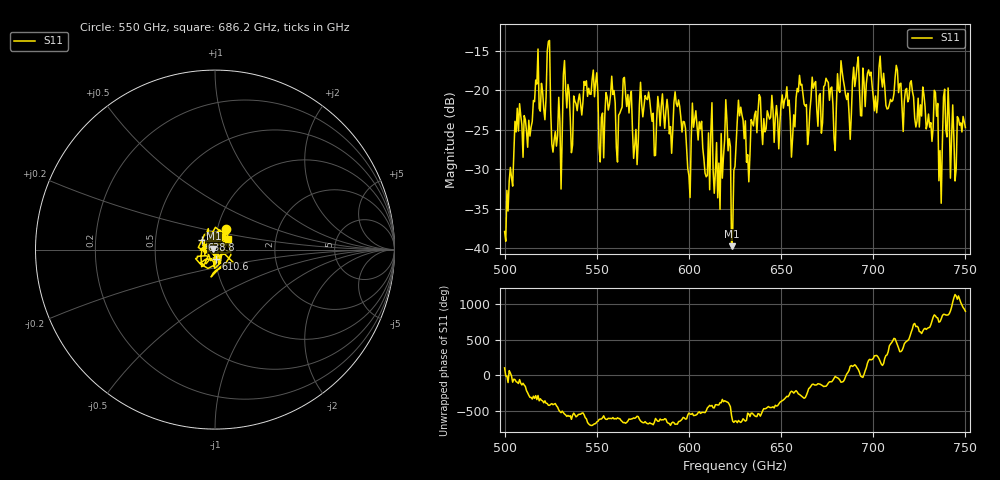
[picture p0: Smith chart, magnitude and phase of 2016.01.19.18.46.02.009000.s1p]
!Created with skrf (http://scikit-rf.org).
# GHz S RI R 50.0
!freq ReS11 ImS11
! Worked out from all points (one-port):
!   401 points, 500 GHz to 750 GHz, reference 50 ohm
!   lowest |S11| = -39.7 dB at 623.1 GHz (marker M1), VSWR 1.02, Z = 49.1 + j0.514 ohm
!   |S11| at or under -10 dB: start of sweep to end of sweep
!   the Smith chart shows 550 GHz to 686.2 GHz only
!   S11 on the Smith chart (normalised r, x): 550 GHz: 1.10, +0.25; 610.6 GHz: 1.00, -0.11; 638.8 GHz: 0.86, +0.09; 686.2 GHz: 1.15, +0.14
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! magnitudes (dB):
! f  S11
! 500 GHz  -37.9
! 506.9 GHz  -22.3
! 516.9 GHz  -18.7
! 523.8 GHz  -13.8
! 526.9 GHz  -26.3
! 531.2 GHz  -25.8
! 550 GHz  -17.8
! 552.5 GHz  -23.4
! 562.5 GHz  -22.9
! 593.8 GHz  -22.1
! 599.4 GHz  -29.9
! 603.1 GHz  -23.6
! 610.6 GHz  -25.4
! 620.6 GHz  -23.9
! 623.1 GHz  -39.7
! 625 GHz  -29.7
! 627.5 GHz  -23.2
! 631.9 GHz  -28.2
! 638.8 GHz  -20.9
! 656.2 GHz  -26.1
! 660 GHz  -18.1
! 686.2 GHz  -20.4
! 687.5 GHz  -26.2
! 718.8 GHz  -21.5
! 733.8 GHz  -20.3
! 736.2 GHz  -27.6
! 739.4 GHz  -25.0
! 750 GHz  -24.7
